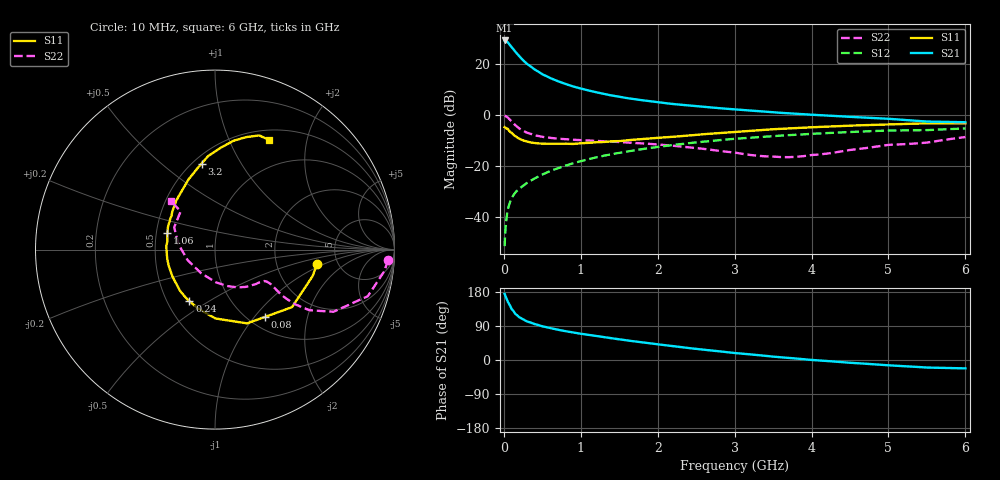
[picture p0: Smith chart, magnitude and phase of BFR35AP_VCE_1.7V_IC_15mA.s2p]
! Infineon Technologies  Discrete & RF Semiconductors
! BFR35AP
! VCE =  1.7 V,  IC =  15 mA
! Common Emitter S-Parameters:  Nov 2015
# GHz  S  MA  R  50
!  f  S11  S21  S12  S22
! GHz  MAG  ANG  MAG  ANG  MAG  ANG  MAG  ANG
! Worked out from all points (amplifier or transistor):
!   210 points, 10 MHz to 6 GHz, reference 50 ohm
!   highest |S21| = 29.1 dB at 10 MHz (marker M1)
!   |S21| within 3 dB of that: start of sweep to 113.3 MHz
!   unconditionally stable (mu >= 1): 406 MHz to 3.978 GHz; 5.318 GHz to 5.911 GHz
!   at 185 MHz: K = 0.70, MSG = 26.4 dB, |S12| = -29.3 dB
!   at 1.52 GHz: K = 1.13, MAG = 8.7 dB, |S12| = -14.8 dB
!   at 6 GHz: K = 1.00, MSG = 1.2 dB, |S12| = -5.3 dB
!   S11 on the Smith chart (normalised r, x): 10 MHz: 3.49, -0.81; 80 MHz: 1.18, -1.13; 240 MHz: 0.65, -0.41; 1.06 GHz: 0.57, +0.11; 3.2 GHz: 0.55, +0.69; 6 GHz: 0.62, +1.42
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0.01  0.5743 -7.8  28.44 174.5  0.0027 88.6  0.9656 -3.4
0.02  0.5638 -15.1  28.15 168.9  0.0055 82.6  0.9518 -7.2
0.05  0.5356 -36.8  26.31 154.1  0.0137 74.9  0.8897 -17.0
0.08  0.4672 -53.4  23.04 143.7  0.0195 69.6  0.7994 -23.0
0.1  0.4482 -66.5  21.39 135.1  0.0235 67.5  0.7449 -27.7
0.15  0.3838 -89.6  17.05 121.6  0.0304 62.9  0.6251 -32.7
0.2  0.342 -105.9  13.94 113.0  0.0359 62.7  0.5423 -34.3
0.24  0.3206 -116.5  12.07 108.1  0.0399 62.8  0.4976 -34.5
0.3  0.3013 -130.2  9.95 101.8  0.0464 63.9  0.4474 -34.3
0.4  0.2809 -147.5  7.709 94.8  0.0569 65.3  0.3982 -32.9
0.5  0.2733 -159.6  6.225 88.9  0.0679 66.5  0.3703 -31.9
0.7  0.2699 -176.7  4.555 79.8  0.09 66.8  0.3421 -31.7
0.8  0.2722 176.2  4.001 76.0  0.1012 66.5  0.3333 -32.0
1.02  0.2786 162.8  3.202 68.7  0.1263 65.3  0.3184 -34.0
1.06  0.2804 161.1  3.096 67.5  0.131 65.1  0.3162 -34.6
1.4  0.3046 145.1  2.391 57.4  0.1694 62.1  0.299 -39.8
2.02  0.3555 125.6  1.746 40.9  0.2375 54.8  0.2611 -53.0
3.1  0.473 100.7  1.239 16.7  0.3478 40.4  0.1726 -93.7
3.2  0.4848 98.9  1.207 14.9  0.3566 38.9  0.1644 -99.7
4.1  0.5792 85.1  0.985 -1.2  0.4322 26.7  0.1677 -165.7
5.1  0.6558 73.4  0.816 -15.1  0.4943 12.6  0.2617 147.3
6  0.6807 63.7  0.716 -22.1  0.5419 2.7  0.3679 132.1
